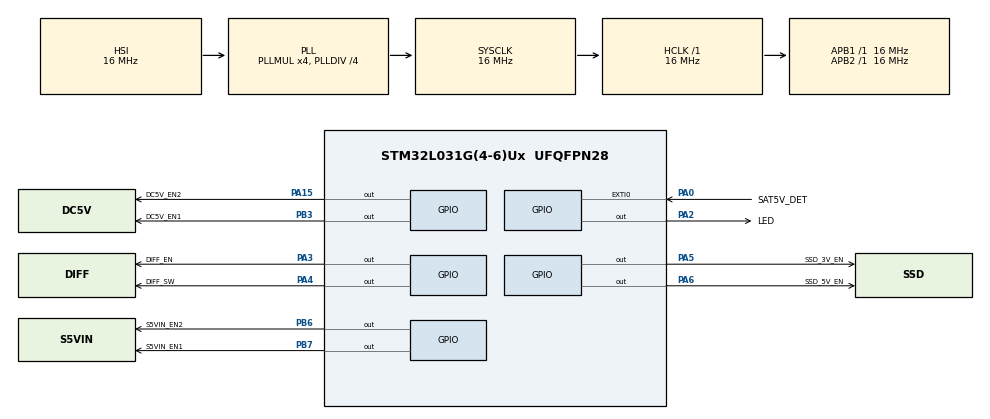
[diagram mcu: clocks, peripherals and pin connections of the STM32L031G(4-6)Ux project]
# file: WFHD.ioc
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Mcu.Family=STM32L0
Mcu.Name=STM32L031G(4-6)Ux
Mcu.Package=UFQFPN28
NVIC.EXTI0_1_IRQn=true\:0\:0\:false\:false\:true\:true\:true\:true
NVIC.TIM2_IRQn=true\:2\:0\:true\:false\:true\:true\:true\:true
PA0-CK_IN.GPIO_Label=SAT5V_DET
PA0-CK_IN.GPIO_ModeDefaultEXTI=GPIO_MODE_IT_RISING_FALLING
PA0-CK_IN.Signal=GPXTI0
PA13.Mode=Serial_Wire
PA13.Signal=SYS_SWDIO
PA14.Mode=Serial_Wire
PA14.Signal=SYS_SWCLK
PA15.GPIO_Label=DC5V_EN2
PA15.GPIO_ModeDefaultOutputPP=GPIO_MODE_OUTPUT_OD
PA15.GPIO_PuPd=GPIO_NOPULL
PA15.PinState=GPIO_PIN_SET
PA15.Signal=GPIO_Output
PA2.GPIO_Label=LED
PA2.Signal=GPIO_Output
PA3.GPIO_Label=DIFF_EN
PA3.PinState=GPIO_PIN_SET
PA3.Signal=GPIO_Output
PA4.GPIO_Label=DIFF_SW
PA4.Signal=GPIO_Output
PA5.GPIO_Label=SSD_3V_EN
PA5.Signal=GPIO_Output
PA6.GPIO_Label=SSD_5V_EN
PA6.Signal=GPIO_Output
PB3.GPIO_Label=DC5V_EN1
PB3.GPIO_ModeDefaultOutputPP=GPIO_MODE_OUTPUT_OD
PB3.GPIO_PuPd=GPIO_NOPULL
PB3.PinState=GPIO_PIN_SET
PB3.Signal=GPIO_Output
PB6.GPIO_Label=S5VIN_EN2
PB6.GPIO_ModeDefaultOutputPP=GPIO_MODE_OUTPUT_OD
PB6.GPIO_PuPd=GPIO_NOPULL
PB6.PinState=GPIO_PIN_SET
PB6.Signal=GPIO_Output
PB7.GPIO_Label=S5VIN_EN1
PB7.GPIO_ModeDefaultOutputPP=GPIO_MODE_OUTPUT_OD
PB7.GPIO_PuPd=GPIO_NOPULL
PB7.PinState=GPIO_PIN_SET
PB7.Signal=GPIO_Output
ProjectManager.HeapSize=0x200
ProjectManager.StackSize=0x400
ProjectManager.TargetToolchain=MDK-ARM V5.32
RCC.ADCFreq_Value=16000000
RCC.AHBFreq_Value=16000000
RCC.APB1Freq_Value=16000000
RCC.APB1TimFreq_Value=16000000
RCC.APB2Freq_Value=16000000
RCC.APB2TimFreq_Value=16000000
RCC.HCLKFreq_Value=16000000
RCC.HSE_VALUE=8000000
RCC.HSI16_VALUE=16000000
RCC.HSI_VALUE=16000000
RCC.MSIClockRange=RCC_MSIRANGE_4
RCC.MSI_VALUE=1048000
RCC.PLLDIV=RCC_PLLDIV_4
RCC.PLLMUL=RCC_PLLMUL_4
RCC.SYSCLKFreq_VALUE=16000000
RCC.SYSCLKSource=RCC_SYSCLKSOURCE_PLLCLK
RCC.VCOOutputFreq_Value=64000000
TIM2.AutoReloadPreload=TIM_AUTORELOAD_PRELOAD_ENABLE
TIM2.Period=100
TIM2.Prescaler=11999
VP_TIM2_VS_ClockSourceINT.Mode=Internal
board=custom

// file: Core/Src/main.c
/* USER CODE BEGIN Header */
/**
  ******************************************************************************
  * @file           : main.c
  * @brief          : Main program body
  ******************************************************************************
  * @attention
  *
  * Copyright (c) 2023 STMicroelectronics.
  * All rights reserved.
  *
  * This software is licensed under terms that can be found in the LICENSE file
  * in the root directory of this software component.
  * If no LICENSE file comes with this software, it is provided AS-IS.
  *
  ******************************************************************************
  */
/* USER CODE END Header */
#include "main.h"
#include "tim.h"
#include "gpio.h"

/* USER CODE BEGIN Includes */
#include "delay.h"
/* USER CODE END Includes */

/* USER CODE BEGIN PD */
#define IDLE			0
#define SATA_CLOSE		1
#define SW_DELAY		2
#define SATA_IN			3
#define SATA_WIFI		4
#define WIFI_DELAY		5
#define WIFI_OFF		6
#define MCU_WFI			7

#define TIME_START	0
#define TIME_COUNT	1
#define TIME_STOP	2

#define SATAIN_MODE		0
#define WIFI_MODE		1
/* USER CODE END PD */

/* USER CODE BEGIN PV */
uint8_t mode_flag;

uint8_t current_state;

uint8_t time_flag;
uint32_t time_count;

/* USER CODE END PV */

void SystemClock_Config(void);
/* USER CODE BEGIN PFP */
void HAL_GPIO_EXTI_Callback(uint16_t GPIO_Pin);
void  HAL_TIM_PeriodElapsedCallback(TIM_HandleTypeDef *htim);
void TIM2_Start(void);
void TIM2_Stop(void);
/* USER CODE END PFP */

int main(void)
{

  /* MCU Configuration--------------------------------------------------------*/

  /* Reset of all peripherals, Initializes the Flash interface and the Systick. */
  HAL_Init();

  /* Configure the system clock */
  SystemClock_Config();

  /* Initialize all configured peripherals */
  MX_GPIO_Init();
  MX_TIM2_Init();
  /* USER CODE BEGIN 2 */
  SATA_SW_CLOSE();

  if(SAT5V_DET_VALUE)	//SATA INPUT MODE
  {
	current_state = SATA_CLOSE;
	mode_flag = SATAIN_MODE;
  }
  else					//WIFI INPUT MODE
  {
	current_state = SATA_CLOSE;
	mode_flag = WIFI_MODE;
  }
  /* USER CODE END 2 */

  /* Infinite loop */
  /* USER CODE BEGIN WHILE */
  while (1)
  {

	  switch(current_state)
	  {
		  case IDLE:
				delay_ms(1);
		  break;

		  case SATA_CLOSE:	//关闭数据通道
				SATA_SW_CLOSE();

				current_state = SW_DELAY;
				time_flag = TIME_START;
		  break;

		  case SW_DELAY:	//延时0.2s
			  if(time_flag == TIME_START)
			  {
				TIM2_Start();
				time_flag = TIME_COUNT;
			  }
			  else if(time_flag == TIME_COUNT)
			  {
				if(time_count >= 2)
				{
					time_flag = TIME_STOP;
				}
			  }
			  else if(time_flag == TIME_STOP)
			  {
				TIM2_Stop();

				if(mode_flag == SATAIN_MODE)	//流程图2，SATA INPUT连接SSD
				{
					current_state = SATA_IN;
				}
				else if(mode_flag == WIFI_MODE)	//流程图1，WIFI模块连接SSD
				{
					current_state = SATA_WIFI;
				}
			  }

		  break;

		  case SATA_IN:		//通道切换至SATA INPUT
				SATA_SW_IN();
				current_state = MCU_WFI;
		  break;

		  case SATA_WIFI:	//通道切换至WIFI模块
				SATA_SW_WIFI();
				current_state = WIFI_DELAY;
				time_flag = TIME_START;
		  break;

		  case WIFI_DELAY:		//延时5分钟,10*60*5=3000
			  if(time_flag == TIME_START)
			  {
				TIM2_Start();
				time_flag = TIME_COUNT;
			  }
			  else if(time_flag == TIME_COUNT)
			  {
				if(time_count >= 300)
				{
					time_flag = TIME_STOP;
				}
			  }
			  else if(time_flag == TIME_STOP)
			  {
				TIM2_Stop();

				current_state = WIFI_OFF;
			  }
		  break;

		  case WIFI_OFF:
				WIFI_PWR_OFF();
				current_state = MCU_WFI;
		  break;

		  case MCU_WFI:
				current_state = IDLE;
				__WFI();
		  break;

		  default:
		  break;

	  }

    /* USER CODE END WHILE */

  }
}

void SystemClock_Config(void)
{
  RCC_OscInitTypeDef RCC_OscInitStruct = {0};
  RCC_ClkInitTypeDef RCC_ClkInitStruct = {0};

  /** Configure the main internal regulator output voltage
  */
  __HAL_PWR_VOLTAGESCALING_CONFIG(PWR_REGULATOR_VOLTAGE_SCALE1);

  /** Initializes the RCC Oscillators according to the specified parameters
  * in the RCC_OscInitTypeDef structure.
  */
  RCC_OscInitStruct.OscillatorType = RCC_OSCILLATORTYPE_HSI;
  RCC_OscInitStruct.HSIState = RCC_HSI_ON;
  RCC_OscInitStruct.HSICalibrationValue = RCC_HSICALIBRATION_DEFAULT;
  RCC_OscInitStruct.PLL.PLLState = RCC_PLL_ON;
  RCC_OscInitStruct.PLL.PLLSource = RCC_PLLSOURCE_HSI;
  RCC_OscInitStruct.PLL.PLLMUL = RCC_PLLMUL_4;
  RCC_OscInitStruct.PLL.PLLDIV = RCC_PLLDIV_4;
  if (HAL_RCC_OscConfig(&RCC_OscInitStruct) != HAL_OK)
  {
    Error_Handler();
  }

  /** Initializes the CPU, AHB and APB buses clocks
  */
  RCC_ClkInitStruct.ClockType = RCC_CLOCKTYPE_HCLK|RCC_CLOCKTYPE_SYSCLK
                              |RCC_CLOCKTYPE_PCLK1|RCC_CLOCKTYPE_PCLK2;
  RCC_ClkInitStruct.SYSCLKSource = RCC_SYSCLKSOURCE_PLLCLK;
  RCC_ClkInitStruct.AHBCLKDivider = RCC_SYSCLK_DIV1;
  RCC_ClkInitStruct.APB1CLKDivider = RCC_HCLK_DIV1;
  RCC_ClkInitStruct.APB2CLKDivider = RCC_HCLK_DIV1;

  if (HAL_RCC_ClockConfig(&RCC_ClkInitStruct, FLASH_LATENCY_0) != HAL_OK)
  {
    Error_Handler();
  }
}

/* USER CODE BEGIN 4 */
void HAL_GPIO_EXTI_Callback(uint16_t GPIO_Pin)
{
	if(SAT5V_DET_VALUE)		//SATA INPUT MODE
	{
		mode_flag = SATAIN_MODE;
		current_state = SATA_CLOSE;
	}
	else		//WIFI INPUT MODE
	{
		mode_flag = WIFI_MODE;
		current_state = SATA_CLOSE;
	}
}

void  HAL_TIM_PeriodElapsedCallback(TIM_HandleTypeDef *htim)
{
	time_count++;
	HAL_GPIO_TogglePin(GPIOA,GPIO_PIN_2);
}

void TIM2_Start(void)
{
	time_count = 0;

	/******** 清除定时器2的更新标志位 ********/
	__HAL_TIM_CLEAR_IT(&htim2, TIM_IT_UPDATE);

	/******** 开启定时器中断 并启动定时器 ********/
	HAL_TIM_Base_Start_IT(&htim2);
}

void TIM2_Stop(void)
{
	time_count = 0;

	/******** 关闭定时器中断 并关闭定时器********/
	HAL_TIM_Base_Stop_IT(&htim2);

	LED_OFF;
}

/* USER CODE END 4 */

void Error_Handler(void)
{
  __disable_irq();
  while (1)
  {
  }
}
